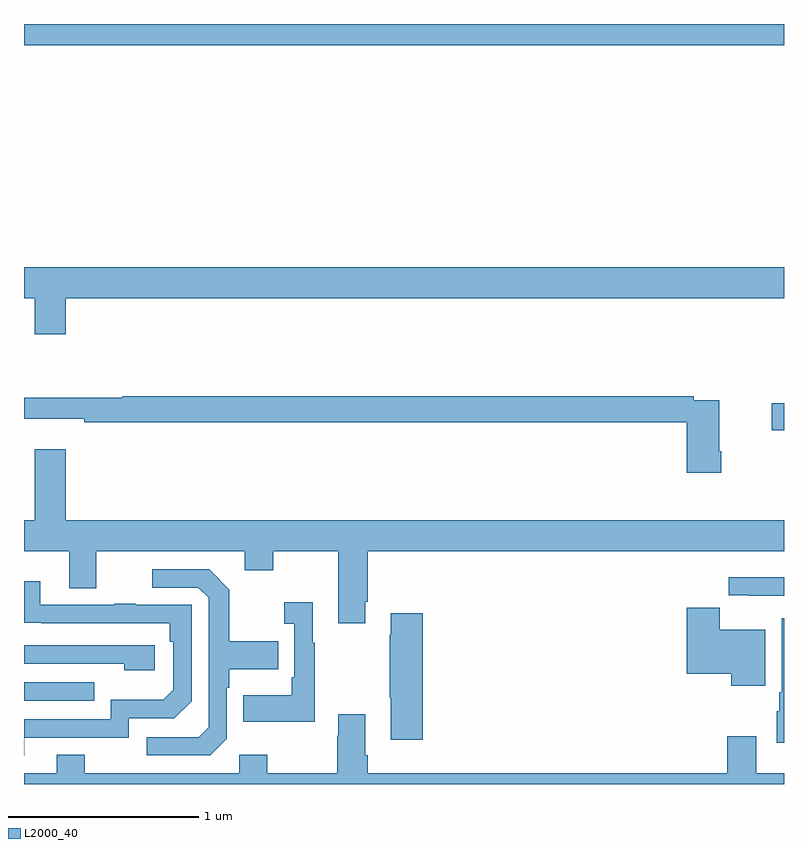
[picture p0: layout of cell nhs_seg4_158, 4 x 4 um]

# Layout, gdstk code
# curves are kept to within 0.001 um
import gdstk
lib = gdstk.Library(unit=1e-6, precision=1e-09)
def R(c, l, rs):  # rectangles x0, y0, x1, y1
    for r in rs: c.add(gdstk.rectangle(r[:2], r[2:], *l))
def P(c, l, *ps):  # polygons
    for p in ps: c.add(gdstk.Polygon(p, *l))
L2000_40 = (2000, 40)

nhs_seg4_158 = lib.new_cell('nhs_seg4_158')
R(nhs_seg4_158, L2000_40, [(117,825.339,117.371,825.435), (120.936,826.762,121,826.904), (117,828.788,121,828.9)])
P(nhs_seg4_158, L2000_40, [(117.22,827.456),(121,827.456),(121,827.62),(117,827.62),(117,827.456),(117.056,827.456),(117.056,827.268),(117.22,827.268)],
  [(120.671,826.651),(120.658,826.651),(120.658,826.92),(120.524,826.92),(120.524,826.94),(117.518,826.94),(117.518,826.933),(117,826.933),(117,826.823),(117.316,826.823),(117.316,826.804),(120.488,826.804),(120.488,826.539),(120.671,826.539)],
  [(118.795,825.859),(118.808,825.859),(118.808,826.124),(121,826.124),(121,826.288),(117.22,826.288),(117.22,826.663),(117.056,826.663),(117.056,826.288),(117,826.288),(117,826.124),(117.239,826.124),(117.239,825.93),(117.379,825.93),(117.379,826.124),(118.163,826.124),(118.163,826.025),(118.311,826.025),(118.311,826.124),(118.655,826.124),(118.655,825.747),(118.795,825.747)],
  [(118.068,825.138),(118.068,825.407),(118.081,825.407),(118.081,825.503),(118.337,825.503),(118.337,825.651),(118.081,825.651),(118.081,825.923),(117.975,826.029),(117.675,826.029),(117.675,825.933),(117.918,825.933),(117.972,825.879),(117.972,825.198),(117.921,825.147),(117.645,825.147),(117.645,825.051),(117.981,825.051)],
  [(121,825.988),(120.708,825.988),(120.708,825.893),(120.817,825.893),(120.817,825.891),(121,825.891)],
  [(117.001,825.144),(117.552,825.144),(117.552,825.246),(117.792,825.246),(117.882,825.336),(117.882,825.843),(117.587,825.843),(117.587,825.848),(117.475,825.848),(117.475,825.843),(117.085,825.843),(117.085,825.967),(117,825.967),(117,825.748),(117.766,825.747),(117.766,825.65),(117.786,825.65),(117.786,825.396),(117.733,825.343),(117.456,825.343),(117.456,825.24),(117,825.24),(117,825.048)],
  [(118.531,825.643),(118.519,825.643),(118.519,825.856),(118.371,825.856),(118.371,825.743),(118.422,825.743),(118.422,825.463),(118.41,825.463),(118.41,825.367),(118.153,825.367),(118.153,825.227),(118.531,825.227)],
  [(120.901,825.712),(120.661,825.712),(120.661,825.828),(120.488,825.828),(120.488,825.479),(120.722,825.479),(120.722,825.416),(120.901,825.416)],
  [(119.099,825.799),(118.931,825.799),(118.931,825.686),(118.924,825.686),(118.924,825.355),(118.931,825.355),(118.931,825.132),(119.099,825.132)],
  [(121,825.772),(120.989,825.772),(120.989,825.382),(120.974,825.382),(120.974,825.282),(120.962,825.282),(120.962,825.116),(121,825.116)],
  [(117.688,825.63),(117,825.63),(117,825.534),(117.527,825.534),(117.527,825.5),(117.688,825.5)],
  [(121,824.956),(120.853,824.956),(120.853,825.151),(120.701,825.151),(120.701,824.956),(118.808,824.956),(118.808,825.052),(118.795,825.052),(118.795,825.268),(118.655,825.268),(118.655,825.155),(118.648,825.155),(118.648,824.956),(118.281,824.956),(118.281,825.055),(118.134,825.055),(118.134,824.956),(117.321,824.956),(117.321,825.055),(117.173,825.055),(117.173,824.956),(117,824.956),(117,824.9),(121,824.9)])

lib.write_gds('nhs_seg4_158.gds')
